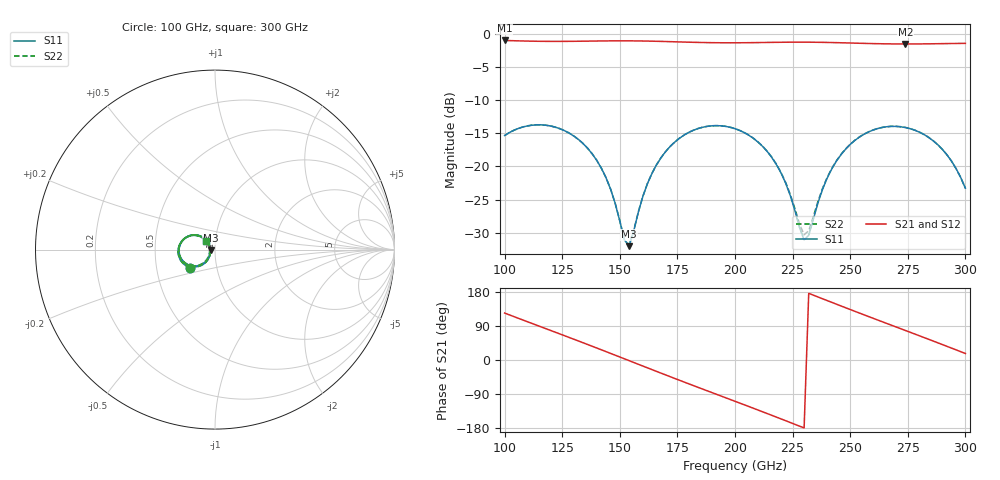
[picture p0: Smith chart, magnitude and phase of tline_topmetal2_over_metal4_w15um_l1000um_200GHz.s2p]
#  GHZ S DB R 50
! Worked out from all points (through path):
!   101 points, 100 GHz to 300 GHz, reference 50 ohm
!   highest |S21| = -0.99 dB at 100 GHz (marker M1); lowest = -1.5 dB at 274 GHz (marker M2)
!   group delay of S21, straight-line fit = 6.49 ps
!   lowest |S11| = -32.0 dB at 154 GHz (marker M3), VSWR 1.05, Z = 47.6 - j0.477 ohm
!   |S11| at or under -10 dB: start of sweep to end of sweep
!   |S22| runs from -31.9 to -13.7 dB; largest |S21 - S12| = 9.9e-14
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100  -15.34 -144.0  -0.99 123.9  -0.99 123.9  -15.33 -143.9
116  -13.73 -177.2  -1.12 87.0  -1.12 87.0  -13.72 -177.1
124  -14.31 166.3  -1.13 68.7  -1.13 68.7  -14.30 166.5
134  -16.53 146.8  -1.10 45.6  -1.10 45.6  -16.52 147.0
144  -21.70 132.5  -1.05 22.2  -1.05 22.2  -21.68 132.8
152  -31.09 159.3  -1.04 3.1  -1.04 3.1  -31.01 159.7
154  -32.03 -168.5  -1.05 -1.6  -1.05 -1.6  -31.95 -168.4
162  -22.59 -125.0  -1.08 -20.7  -1.08 -20.7  -22.58 -125.0
168  -18.63 -131.2  -1.13 -34.9  -1.13 -34.9  -18.62 -131.0
184  -14.28 -160.9  -1.28 -72.2  -1.28 -72.2  -14.27 -160.5
200  -14.31 167.2  -1.34 -108.9  -1.34 -108.9  -14.29 167.7
218  -19.73 135.9  -1.27 -150.8  -1.27 -150.8  -19.67 137.2
224  -24.40 134.4  -1.25 -165.0  -1.25 -165.0  -24.23 136.5
230  -31.08 175.0  -1.25 -179.3  -1.25 -179.3  -30.31 175.7
234  -27.96 -138.8  -1.25 171.1  -1.25 171.1  -27.57 -141.4
240  -21.77 -128.2  -1.29 156.8  -1.29 156.8  -21.67 -129.9
248  -17.39 -137.7  -1.35 137.9  -1.35 137.9  -17.36 -138.7
258  -14.79 -155.9  -1.44 114.6  -1.44 114.6  -14.77 -156.5
268  -13.95 -175.3  -1.51 91.6  -1.51 91.6  -13.94 -175.8
274  -14.13 173.0  -1.52 77.8  -1.52 77.8  -14.12 172.5
290  -17.42 144.1  -1.47 40.7  -1.47 40.7  -17.42 143.7
300  -23.28 136.8  -1.43 17.1  -1.43 17.1  -23.31 136.2
